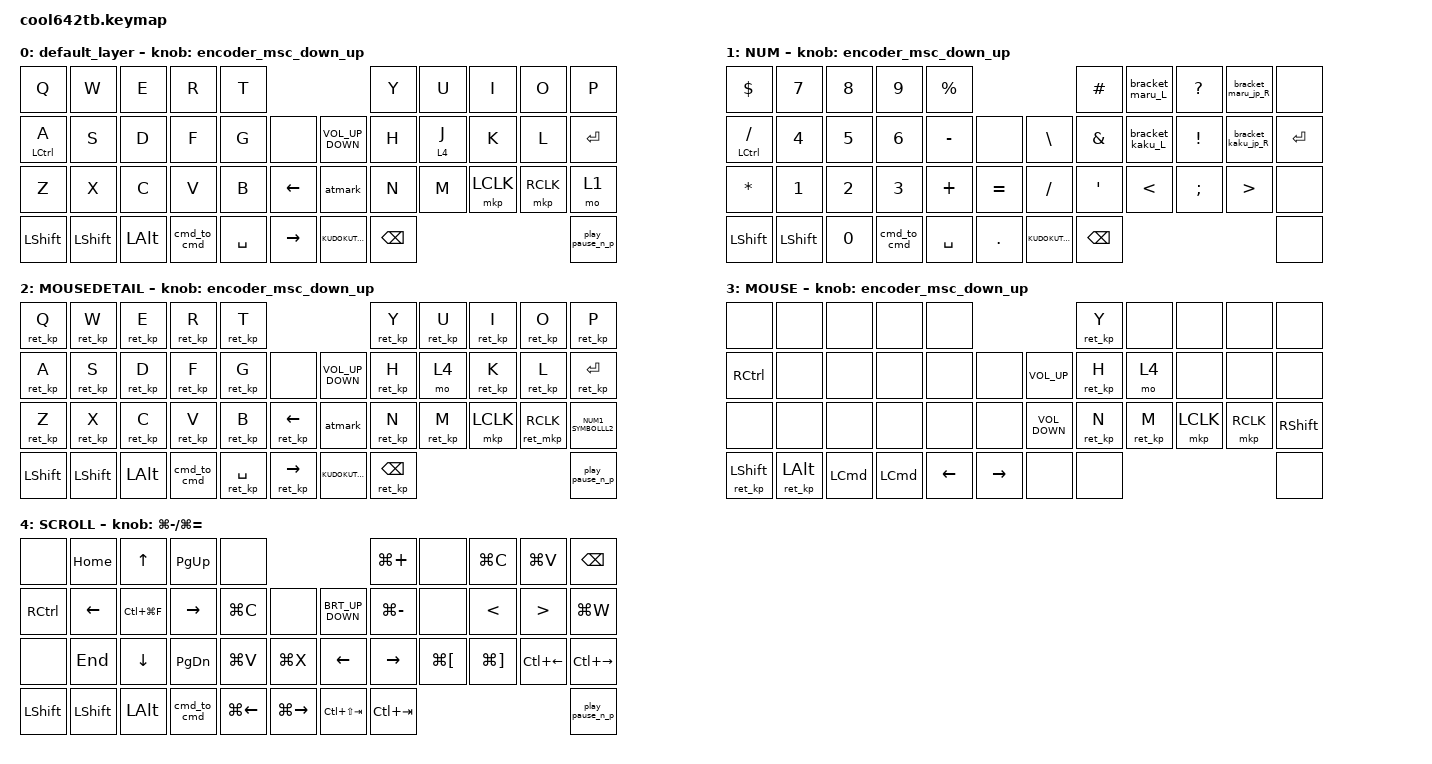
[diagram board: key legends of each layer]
#include <input/processors.dtsi>
#include <behaviors.dtsi>
#include <dt-bindings/zmk/bt.h>
#include <dt-bindings/zmk/keys.h>
#include <dt-bindings/zmk/pointing.h>

#define JP_KANA LANGUAGE_1 /* かな */
#define JP_EISU LANGUAGE_2 /* 英数 */
#define NUM 1
#define MOUSEDETAIL 2
#define SCROLL 4
#define ZMK_POINTING_DEFAULT_SCRL_VAL 80

&mt {
    flavor = "balanced";
    quick-tap-ms = <0>;
};

/* &mkp_input_listener { input-processors = <&zip_temp_layer MOUSEDETAIL 100000>; }; */

/ {
    combos {
        compatible = "zmk,combos";

        comb1 {
            bindings = <&kp TAB>;
            key-positions = <10 0>;
        };

        comb2 {
            bindings = <&kp LS(ESCAPE)>;
            key-positions = <0 1>;
        };

        comb3 {
            bindings = <&kp CAPSLOCK>;
            key-positions = <11 10>;
        };

        comb6_middleclick {
            bindings = <&mkp MCLK>;
            key-positions = <31 32>;
        };

        comb7minus {
            bindings = <&kp MINUS>;
            key-positions = <7 8>;
        };

        comb8 {
            bindings = <&kp BACKSPACE>;
            key-positions = <20 21>;
        };

        MOUSEDETAIL {
            bindings = <&tog 2>;
            key-positions = <18 41>;
        };

        cmd_+ {
            bindings = <&kp PLUS>;
            key-positions = <7 8 9>;
        };

        comb_bt_disc0 {
            bindings = <&bt BT_CLR_ALL>;
            key-positions = <2 3 1 0>;
            layers = <4>;
        };

        comb_bt_0 {
            bindings = <&bt BT_SEL 0>;
            key-positions = <0 34>;
            layers = <4>;
        };

        comb_bt_1 {
            bindings = <&bt BT_SEL 1>;
            key-positions = <1 34>;
            layers = <4>;
        };

        comb_bt_2 {
            bindings = <&bt BT_SEL 2>;
            key-positions = <2 34>;
            layers = <4>;
        };

        comb_bt_disc1 {
            bindings = <&bt BT_NXT>;
            key-positions = <0 3 4 2>;
        };
    };

    macros {
        to_layer_0: to_layer_0 {
            compatible = "zmk,behavior-macro-one-param";
            #binding-cells = <1>;
            bindings = <&to 0 &macro_param_1to1 &kp MACRO_PLACEHOLDER>;
            label = "TO_LAYER_0";
        };

        ret_kp: ret_kp {
            compatible = "zmk,behavior-macro-one-param";
            #binding-cells = <1>;
            bindings =
                <&to 0 &macro_param_1to1>,
                <&macro_press>,
                <&kp MACRO_PLACEHOLDER>,
                <&macro_pause_for_release>,
                <&macro_param_1to1>,
                <&macro_release>,
                <&kp MACRO_PLACEHOLDER>;

            label = "RET_KP";
        };

        atmark: atmark {
            compatible = "zmk,behavior-macro";
            #binding-cells = <0>;
            bindings = <&kp JP_EISU &kp AT_SIGN>;
            label = "ATMARK";
        };

        ret_mkp: ret_mkp {
            compatible = "zmk,behavior-macro-one-param";
            #binding-cells = <1>;
            bindings =
                <&to 0 &macro_param_1to1>,
                <&macro_press>,
                <&mkp MACRO_PLACEHOLDER>,
                <&macro_pause_for_release>,
                <&macro_param_1to1>,
                <&macro_release>,
                <&mkp MACRO_PLACEHOLDER>;

            label = "RET_MKP";
        };

        bracket_kaku: bracket_kaku {
            compatible = "zmk,behavior-macro";
            #binding-cells = <0>;
            bindings = <&kp JP_EISU &kp LEFT_BRACKET &kp RIGHT_BRACKET &kp LEFT_ARROW>;
            label = "BRACKET_KAKU";
        };

        bracket_maru: bracket_maru {
            compatible = "zmk,behavior-macro";
            #binding-cells = <0>;
            bindings = <&kp JP_EISU &kp LEFT_PARENTHESIS &kp RIGHT_PARENTHESIS &kp LEFT_ARROW>;
            label = "BRACKET_MARU";
        };

        bracket_kaku_jp: bracket_kaku_jp {
            compatible = "zmk,behavior-macro";
            #binding-cells = <0>;
            bindings = <&kp JP_KANA &kp LEFT_BRACKET &kp RIGHT_BRACKET &kp ENTER &kp LEFT_ARROW>;
            label = "BRACKET_KAKU_JP";
        };

        bracket_maru_jp: bracket_maru_jp {
            compatible = "zmk,behavior-macro";
            #binding-cells = <0>;
            bindings = <&kp JP_KANA &kp LEFT_PARENTHESIS &kp RIGHT_PARENTHESIS &kp ENTER &kp LEFT_ARROW>;
            label = "BRACKET_MARU_JP";
        };

        bracket_nijuu_jp: bracket_nijuu_jp {
            compatible = "zmk,behavior-macro";
            #binding-cells = <0>;
            bindings = <&kp JP_KANA &kp LS(LEFT_BRACKET) &kp LS(RIGHT_BRACKET) &kp ENTER &kp LEFT_ARROW>;
            label = "BRACKET_NIJUU_JP";
        };
    };

    behaviors {
        lt_to_layer_0: lt_to_layer_0 {
            compatible = "zmk,behavior-hold-tap";
            label = "LAYER_TAP_TO_0";
            bindings = <&mo>, <&to_layer_0>;

            #binding-cells = <2>;
            tapping-term-ms = <200>;
        };

        encoder_msc_down_up: encoder_msc_down_up {
            compatible = "zmk,behavior-sensor-rotate";
            label = "ENCODER_MSC_DOWN_UP";
            #sensor-binding-cells = <0>;
            bindings = <&msc SCRL_UP>, <&msc SCRL_DOWN>;

            // スクロール方向を逆にしたい場合は <&msc SCRL_DOWN> と <&msc SCRL_UP> を入れ替えてください

            tap-ms = <20>;
        };

        cmd_to_cmd: cmd_to_cmd {
            compatible = "zmk,behavior-tap-dance";
            label = "CMD_TO_CMD";
            #binding-cells = <0>;
            bindings = <&kp LEFT_COMMAND>, <&kp RIGHT_COMMAND>;

            tapping-term-ms = <200>;
        };

        play_pause_n_p: play_pause_n_p {
            compatible = "zmk,behavior-tap-dance";
            label = "PLAY_PAUSE_N_P";
            #binding-cells = <0>;
            bindings = <&kp C_PLAY_PAUSE>, <&kp C_NEXT>, <&kp C_PREVIOUS>;
        };

        KUDOKUTEN: KUDOKUTEN {
            compatible = "zmk,behavior-tap-dance";
            label = "KUDOKUTEN";
            #binding-cells = <0>;
            bindings = <&kp COMMA>, <&kp PERIOD>;

            tapping-term-ms = <260>;
        };

        VOL_UP_DOWN: VOL_UP_DOWN {
            compatible = "zmk,behavior-tap-dance";
            label = "VOL_UP_DOWN";
            #binding-cells = <0>;
            bindings = <&kp C_VOLUME_DOWN>, <&kp C_VOLUME_UP>;
        };

        NUM1_SYMBOLLL2: NUM1_SYMBOLLL2 {
            compatible = "zmk,behavior-tap-dance";
            label = "NUM1_SYMBOLLL2";
            #binding-cells = <0>;
            bindings = <&mo 1>, <&mo 0>;

            tapping-term-ms = <250>;
        };

        bracket_kaku_L: bracket_kaku_L {
            compatible = "zmk,behavior-tap-dance";
            label = "BRACKET_KAKU_L";
            #binding-cells = <0>;
            bindings = <&kp LEFT_BRACKET>, <&bracket_kaku>;

            tapping-term-ms = <260>;
        };

        bracket_kaku_jp_R: bracket_kaku_jp_R {
            compatible = "zmk,behavior-tap-dance";
            label = "BRACKET_KAKU_JP_R";
            #binding-cells = <0>;
            bindings =
                <&kp RIGHT_BRACKET>,
                <&bracket_kaku_jp>,
                <&bracket_nijuu_jp>;

            tapping-term-ms = <260>;
        };

        bracket_maru_L: bracket_maru_L {
            compatible = "zmk,behavior-tap-dance";
            label = "BRACKET_MARU_L";
            #binding-cells = <0>;
            bindings = <&kp LEFT_PARENTHESIS>, <&bracket_maru>;

            tapping-term-ms = <260>;
        };

        bracket_maru_jp_R: bracket_maru_jp_R {
            compatible = "zmk,behavior-tap-dance";
            label = "BRACKET_MARU_JP_R";
            #binding-cells = <0>;
            bindings = <&kp RIGHT_PARENTHESIS>, <&bracket_maru_jp>;

            tapping-term-ms = <260>;
        };

        BRT_UP_DOWN: BRT_UP_DOWN {
            compatible = "zmk,behavior-tap-dance";
            label = "BRT_UP_DOWN";
            #binding-cells = <0>;
            bindings = <&kp C_BRIGHTNESS_DEC>, <&kp C_BRIGHTNESS_INC>;
        };
    };

    keymap {
        compatible = "zmk,keymap";

        default_layer {
            bindings = <
&kp Q               &kp W           &kp E     &kp R        &kp T                                     &kp Y          &kp U    &kp I      &kp O      &kp P
&mt LEFT_CONTROL A  &kp S           &kp D     &kp F        &kp G      &none            &VOL_UP_DOWN  &kp H          &lt 4 J  &kp K      &kp L      &kp ENTER
&kp Z               &kp X           &kp C     &kp V        &kp B      &kp LEFT_ARROW   &atmark       &kp N          &kp M    &mkp LCLK  &mkp RCLK  &mo 1
&kp LEFT_SHIFT      &kp LEFT_SHIFT  &kp LALT  &cmd_to_cmd  &kp SPACE  &kp RIGHT_ARROW  &KUDOKUTEN    &kp BACKSPACE                                 &play_pause_n_p
            >;

            sensor-bindings = <&encoder_msc_down_up>;
        };

        NUM {
            bindings = <
&kp DOLLAR              &kp N7          &kp NUMBER_8  &kp N9       &kp PERCENT                             &kp HASH          &bracket_maru_L  &kp QUESTION     &bracket_maru_jp_R  &none
&mt LEFT_CONTROL SLASH  &kp N4          &kp NUMBER_5  &kp N6       &kp MINUS    &none       &kp BACKSLASH  &kp AMPERSAND     &bracket_kaku_L  &kp EXCLAMATION  &bracket_kaku_jp_R  &kp ENTER
&kp ASTERISK            &kp N1          &kp NUMBER_2  &kp N3       &kp PLUS     &kp EQUAL   &kp SLASH      &kp SINGLE_QUOTE  &kp LESS_THAN    &kp SEMICOLON    &kp GREATER_THAN    &none
&kp LEFT_SHIFT          &kp LEFT_SHIFT  &kp NUMBER_0  &cmd_to_cmd  &kp SPACE    &kp PERIOD  &KUDOKUTEN     &kp BACKSPACE                                                           &none
            >;

            sensor-bindings = <&encoder_msc_down_up>;
        };

        MOUSEDETAIL {
            bindings = <
&ret_kp Q       &ret_kp W       &ret_kp E  &ret_kp R    &ret_kp T                                         &ret_kp Y          &ret_kp U  &ret_kp I  &ret_kp O      &ret_kp P
&ret_kp A       &ret_kp S       &ret_kp D  &ret_kp F    &ret_kp G      &none                &VOL_UP_DOWN  &ret_kp H          &mo 4      &ret_kp K  &ret_kp L      &ret_kp RET
&ret_kp Z       &ret_kp X       &ret_kp C  &ret_kp V    &ret_kp B      &ret_kp LEFT_ARROW   &atmark       &ret_kp N          &ret_kp M  &mkp LCLK  &ret_mkp RCLK  &NUM1_SYMBOLLL2
&kp LEFT_SHIFT  &kp LEFT_SHIFT  &kp LALT   &cmd_to_cmd  &ret_kp SPACE  &ret_kp RIGHT_ARROW  &KUDOKUTEN    &ret_kp BACKSPACE                                       &play_pause_n_p
            >;

            sensor-bindings = <&encoder_msc_down_up>;
        };

        MOUSE {
            bindings = <
&none               &none             &none             &none             &none                                               &ret_kp Y  &none      &none      &none      &none
&kp RCTRL           &none             &none             &none             &none           &none            &kp C_VOLUME_UP    &ret_kp H  &mo 4      &none      &none      &none
&none               &none             &none             &none             &none           &none            &kp C_VOLUME_DOWN  &ret_kp N  &ret_kp M  &mkp LCLK  &mkp RCLK  &kp RIGHT_SHIFT
&ret_kp LEFT_SHIFT  &ret_kp LEFT_ALT  &kp LEFT_COMMAND  &kp LEFT_COMMAND  &kp LEFT_ARROW  &kp RIGHT_ARROW  &none              &none                                       &none
            >;

            sensor-bindings = <&encoder_msc_down_up>;
        };

        SCROLL {
            bindings = <
&none      &kp HOME        &kp UP         &kp PAGE_UP    &none                                                     &kp LG(PLUS)     &none                 &kp LG(C)              &kp LG(V)           &kp BACKSPACE
&kp RCTRL  &kp LEFT        &kp LC(LG(F))  &kp RIGHT      &kp LG(C)           &none                &BRT_UP_DOWN     &kp LG(MINUS)    &none                 &kp LESS_THAN          &kp GREATER_THAN    &kp LG(W)
&none      &kp END         &kp DOWN       &kp PAGE_DOWN  &kp LG(V)           &kp LG(X)            &kp LEFT_ARROW   &kp RIGHT_ARROW  &kp LG(LEFT_BRACKET)  &kp LG(RIGHT_BRACKET)  &kp LC(LEFT_ARROW)  &kp LC(RIGHT_ARROW)
&kp LSHFT  &kp LEFT_SHIFT  &kp LALT       &cmd_to_cmd    &kp LG(LEFT_ARROW)  &kp LG(RIGHT_ARROW)  &kp LC(LS(TAB))  &kp LC(TAB)                                                                       &play_pause_n_p
            >;

            sensor-bindings = <&inc_dec_kp LG(MINUS) LG(EQUAL)>;
        };
    };
};
